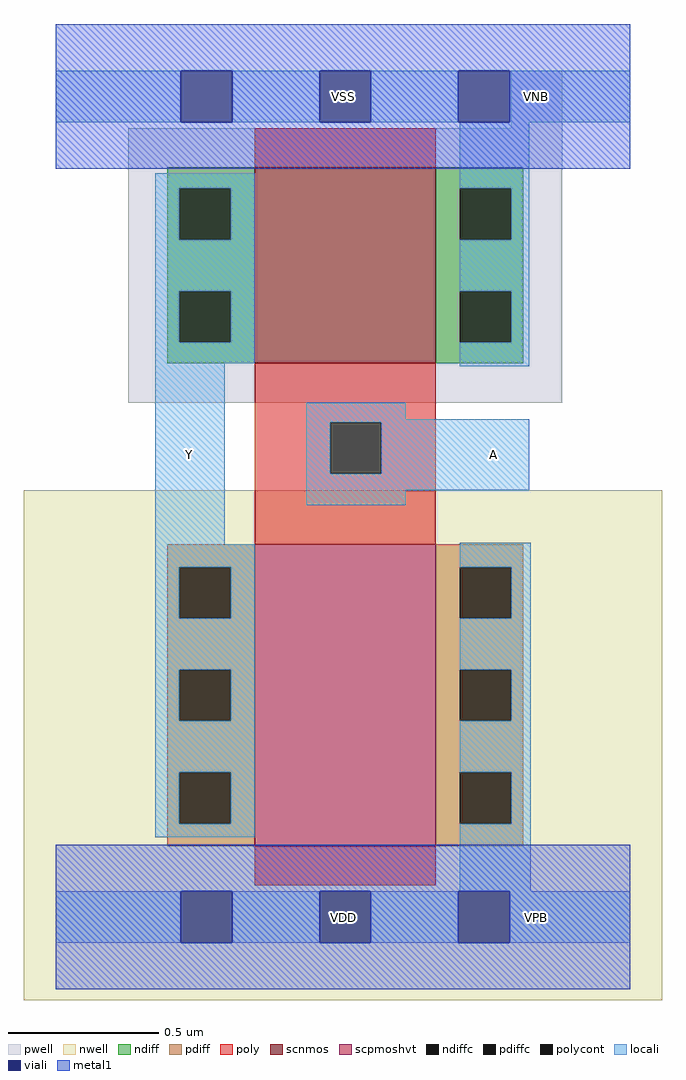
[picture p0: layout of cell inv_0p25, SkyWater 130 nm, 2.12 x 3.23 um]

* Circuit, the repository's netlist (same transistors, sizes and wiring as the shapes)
** sch_path: /home/kuli/git/open_pdks/sky130/sky130A/libs.tech/xschem/sky130_stdcells/inv_0p25.sch
**.subckt inv_0p25 A Y VDD VSS

*.ipin A
*.iopin VDD
*.iopin VSS
*.opin Y
XM1 Y A VSS VSS sky130_fd_pr__nfet_01v8 L=0.60 W=0.65 nf=1 ad='int((nf+1)/2) * W/nf * 0.29' as='int((nf+2)/2) * W/nf * 0.29' pd='2*int((nf+1)/2) * (W/nf + 0.29)'
+ ps='2*int((nf+2)/2) * (W/nf + 0.29)' nrd='0.29 / W' nrs='0.29 / W' sa=0 sb=0 sd=0 mult=1 m=1
XM2 Y A VDD VDD sky130_fd_pr__pfet_01v8_hvt L=0.60 W=1 nf=1 ad='int((nf+1)/2) * W/nf * 0.29' as='int((nf+2)/2) * W/nf * 0.29' pd='2*int((nf+1)/2) * (W/nf + 0.29)'
+ ps='2*int((nf+2)/2) * (W/nf + 0.29)' nrd='0.29 / W' nrs='0.29 / W' sa=0 sb=0 sd=0 mult=1 m=1
**.ends
.end

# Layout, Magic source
magic
tech sky130A
magscale 1 2
<< nwell >>
rect -313 -837 110 -499
<< pwell >>
rect 10 -259 44 -221
rect -244 -441 44 -259
<< ndiffc >>
rect -210 -333 -176 -299
rect -24 -333 10 -299
rect -210 -401 -176 -367
rect -24 -401 10 -367
<< pdiffc >>
rect -210 -584 -176 -550
rect -24 -584 10 -550
rect -210 -652 -176 -618
rect -24 -652 10 -618
rect -210 -720 -176 -686
rect -24 -720 10 -686
<< poly >>
rect -160 -454 -40 -441
rect -160 -488 -110 -454
rect -76 -488 -40 -454
rect -160 -509 -40 -488
<< polycont >>
rect -110 -488 -76 -454
<< locali >>
rect -292 -255 -209 -221
rect -175 -255 -117 -221
rect -83 -255 -25 -221
rect 9 -255 89 -221
rect -226 -299 -160 -289
rect -226 -333 -210 -299
rect -176 -333 -160 -299
rect -226 -367 -160 -333
rect -226 -401 -210 -367
rect -176 -401 -160 -367
rect -226 -415 -160 -401
rect -24 -299 22 -255
rect 10 -333 22 -299
rect -24 -367 22 -333
rect 10 -401 22 -367
rect -226 -535 -180 -415
rect -24 -417 22 -401
rect -126 -452 -60 -441
rect -126 -454 22 -452
rect -126 -488 -110 -454
rect -76 -488 22 -454
rect -126 -499 22 -488
rect -126 -509 -60 -499
rect -226 -550 -160 -535
rect -226 -584 -210 -550
rect -176 -584 -160 -550
rect -226 -618 -160 -584
rect -226 -652 -210 -618
rect -176 -652 -160 -618
rect -226 -686 -160 -652
rect -226 -720 -210 -686
rect -176 -720 -160 -686
rect -226 -729 -160 -720
rect -24 -550 23 -534
rect 10 -584 23 -550
rect -24 -618 23 -584
rect 10 -652 23 -618
rect -24 -686 23 -652
rect 10 -720 23 -686
rect -24 -765 23 -720
rect -292 -799 -209 -765
rect -175 -799 -117 -765
rect -83 -799 -25 -765
rect 9 -799 89 -765
<< viali >>
rect -209 -255 -175 -221
rect -117 -255 -83 -221
rect -25 -255 9 -221
rect -209 -799 -175 -765
rect -117 -799 -83 -765
rect -25 -799 9 -765
<< metal1 >>
rect -292 -221 89 -190
rect -292 -255 -209 -221
rect -175 -255 -117 -221
rect -83 -255 -25 -221
rect 9 -255 89 -221
rect -292 -286 89 -255
rect -292 -765 89 -734
rect -292 -799 -209 -765
rect -175 -799 -117 -765
rect -83 -799 -25 -765
rect 9 -799 89 -765
rect -292 -830 89 -799
use sky130_fd_pr__nfet_01v8_RFBLNB  XM1
transform 1 0 -100 0 1 -350
box -118 -91 118 91
use sky130_fd_pr__pfet_01v8_hvt_XPYSBA  XM2
transform 1 0 -100 0 1 -635
box -154 -136 154 136
<< labels >>
flabel metal1 -292 -286 89 -190 7 FreeSans 360 0 0 0 VSS
port 0 w
flabel metal1 -292 -830 89 -734 7 FreeSans 360 0 0 0 VDD
port 1 w
flabel locali -25 -499 22 -452 3 FreeSans 360 0 0 0 A
port 2 e
flabel locali -226 -499 -180 -452 7 FreeSans 360 0 0 0 Y
port 3 w
flabel pwell 10 -255 44 -221 0 FreeSans 160 0 0 0 VNB
port 4 nsew
flabel nwell 10 -799 44 -765 0 FreeSans 160 0 0 0 VPB
port 5 nsew
<< end >>

# cell sky130_fd_pr__nfet_01v8_RFBLNB: kit device sky130_fd_pr__nfet_01v8, w 0.65 l 0.6 m 1 nf 1 diffcov 100 polycov 100 guard 1 glc 1 grc 1 gtc 1 gbc 1 tbcov 100 rlcov 100 topc 1 botc 1 poverlap 0 doverlap 1 lmin 0.15 wmin 0.42 compatible {sky130_fd_pr__nfet_01v8 sky130_fd_pr__nfet_01v8_lvt sky130_fd_bs_flash__special_sonosfet_star sky130_fd_pr__nfet_g5v0d10v5 sky130_fd_pr__nfet_05v0_nvt sky130_fd_pr__nfet_03v3_nvt} full_metal 1 viasrc 100 viadrn 100 viagate 100 viagb 0 viagr 0 viagl 0 viagt 0

# cell sky130_fd_pr__pfet_01v8_hvt_XPYSBA: kit device sky130_fd_pr__pfet_01v8_hvt, w 1.0 l 0.6 m 1 nf 1 diffcov 100 polycov 100 guard 1 glc 1 grc 1 gtc 1 gbc 1 tbcov 100 rlcov 100 topc 1 botc 1 poverlap 0 doverlap 1 lmin 0.15 wmin 0.42 compatible {sky130_fd_pr__pfet_01v8 sky130_fd_pr__pfet_01v8_lvt sky130_fd_pr__pfet_01v8_hvt sky130_fd_pr__pfet_g5v0d10v5} full_metal 1 viasrc 100 viadrn 100 viagate 100 viagb 0 viagr 0 viagl 0 viagt 0
